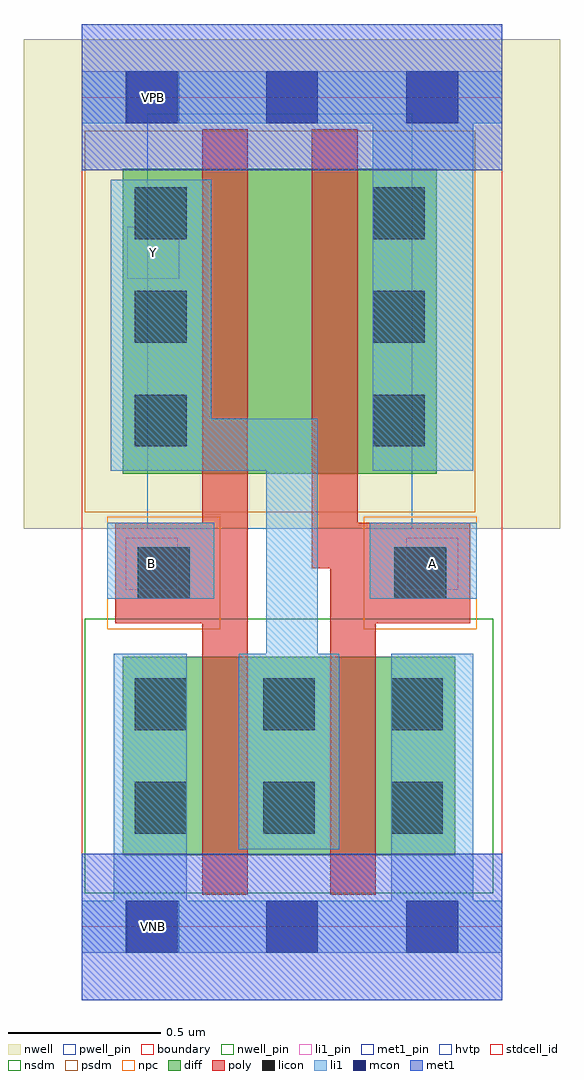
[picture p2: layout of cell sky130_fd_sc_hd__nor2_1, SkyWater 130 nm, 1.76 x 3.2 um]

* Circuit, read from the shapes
.subckt sky130_fd_sc_hd__nor2_1 A B VGND VNB VPB VPWR Y
XM1 Y B VGND VNB sky130_fd_pr__nfet_01v8 w=0.65 l=0.15
XM2 VGND A Y VNB sky130_fd_pr__nfet_01v8 w=0.65 l=0.15
XM3 n1 B Y VPB sky130_fd_pr__pfet_01v8_hvt w=1 l=0.15
XM4 VPWR A n1 VPB sky130_fd_pr__pfet_01v8_hvt w=1 l=0.15
.ends

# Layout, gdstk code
import gdstk
lib = gdstk.Library(unit=1e-6, precision=1e-09)
def R(c, l, rs):  # rectangles x0, y0, x1, y1
    for r in rs: c.add(gdstk.rectangle(r[:2], r[2:], *l))
def A(c, l, x, y, w, h, nx, ny, dx, dy):  # array of equal rectangles
    R(c, l, [(x+i*dx, y+j*dy, x+i*dx+w, y+j*dy+h) for i in range(nx) for j in range(ny)])
nwell_pin = (64, 16)
nwell = (64, 20)
diff = (65, 20)
poly = (66, 20)
licon = (66, 44)
li1_pin = (67, 16)
li1 = (67, 20)
mcon = (67, 44)
met1_pin = (68, 16)
met1 = (68, 20)
hvtp = (78, 44)
stdcell_id = (81, 4)
nsdm = (93, 44)
psdm = (94, 20)
npc = (95, 20)
pwell_pin = (122, 16)
boundary = (235, 4)

sky130_fd_sc_hd__nor2_1 = lib.new_cell('sky130_fd_sc_hd__nor2_1')
R(sky130_fd_sc_hd__nor2_1, nwell_pin, [(0.15,2.635,0.32,2.805)])
R(sky130_fd_sc_hd__nor2_1, nwell, [(-0.19,1.305,1.57,2.91)])
R(sky130_fd_sc_hd__nor2_1, diff, [(0.135,0.235,1.225,0.885), (0.135,1.485,1.165,2.485)])
R(sky130_fd_sc_hd__nor2_1, poly, [(0.395,0.105,0.545,0.995), (0.815,0.105,0.965,0.995), (0.11,0.995,0.545,1.325), (0.815,0.995,1.275,1.175), (0.755,1.175,1.275,1.325), (0.395,1.325,0.545,2.615), (0.755,1.325,0.905,2.615)])
A(sky130_fd_sc_hd__nor2_1, licon, 0.175, 0.305, 0.17, 0.17, 3, 2, 0.42, 0.34)
A(sky130_fd_sc_hd__nor2_1, licon, 0.175, 1.575, 0.17, 0.17, 1, 3, 0, 0.34)
A(sky130_fd_sc_hd__nor2_1, licon, 0.955, 1.575, 0.17, 0.17, 1, 3, 0, 0.34)
R(sky130_fd_sc_hd__nor2_1, licon, [(0.185,1.075,0.355,1.245), (1.025,1.075,1.195,1.245)])
R(sky130_fd_sc_hd__nor2_1, li1_pin, [(0.145,1.105,0.315,1.275), (1.065,1.105,1.235,1.275), (0.15,2.125,0.32,2.295)])
R(sky130_fd_sc_hd__nor2_1, li1, [(0,-0.085,1.38,0.085), (0.105,0.085,0.345,0.895), (1.015,0.085,1.285,0.895), (0.515,0.255,0.845,0.895), (0.605,0.895,0.775,1.495), (0.085,1.075,0.435,1.325), (0.945,1.075,1.295,1.325), (0.095,1.495,0.775,1.665), (0.955,1.495,1.285,2.635), (0.095,1.665,0.425,2.45), (0,2.635,1.38,2.805)])
A(sky130_fd_sc_hd__nor2_1, mcon, 0.145, -0.085, 0.17, 0.17, 3, 2, 0.46, 2.72)
R(sky130_fd_sc_hd__nor2_1, met1_pin, [(0.15,-0.085,0.32,0.085), (0.15,2.635,0.32,2.805)])
R(sky130_fd_sc_hd__nor2_1, met1, [(0,-0.24,1.38,0.24), (0,2.48,1.38,2.96)])
R(sky130_fd_sc_hd__nor2_1, hvtp, [(0.215,1.305,1.085,2.665)])
R(sky130_fd_sc_hd__nor2_1, stdcell_id, [(0,0,1.38,2.72)])
R(sky130_fd_sc_hd__nor2_1, nsdm, [(0.01,0.11,1.35,1.01)])
R(sky130_fd_sc_hd__nor2_1, psdm, [(0.01,1.36,1.29,2.61)])
R(sky130_fd_sc_hd__nor2_1, npc, [(0.085,0.975,0.455,1.345), (0.925,0.975,1.295,1.345)])
R(sky130_fd_sc_hd__nor2_1, pwell_pin, [(0.15,-0.085,0.32,0.085)])
R(sky130_fd_sc_hd__nor2_1, boundary, [(0,0,1.38,2.72)])
sky130_fd_sc_hd__nor2_1.add(gdstk.Label('VPB', (0.235,2.72), layer=64, texttype=5))
sky130_fd_sc_hd__nor2_1.add(gdstk.Label('VNB', (0.235,0), layer=64, texttype=59))
sky130_fd_sc_hd__nor2_1.add(gdstk.Label('VGND', (0.235,0), layer=68, texttype=5))
sky130_fd_sc_hd__nor2_1.add(gdstk.Label('VPWR', (0.235,2.72), layer=68, texttype=5))
sky130_fd_sc_hd__nor2_1.add(gdstk.Label('A', (1.15,1.19), layer=67, texttype=5))
sky130_fd_sc_hd__nor2_1.add(gdstk.Label('B', (0.23,1.19), layer=67, texttype=5))
sky130_fd_sc_hd__nor2_1.add(gdstk.Label('Y', (0.235,2.21), layer=67, texttype=5))

lib.write_gds('sky130_fd_sc_hd__nor2_1.gds')
